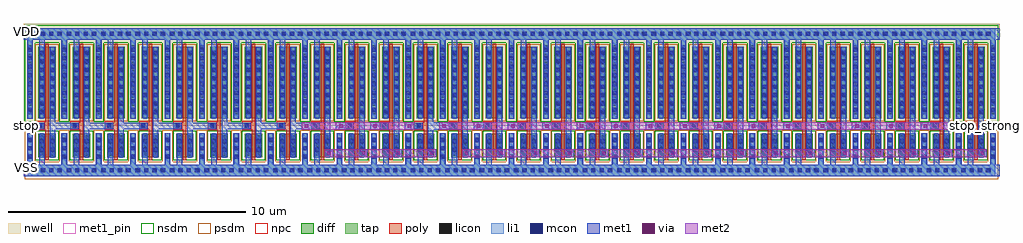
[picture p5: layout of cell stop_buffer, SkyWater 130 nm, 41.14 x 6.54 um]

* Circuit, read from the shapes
.subckt stop_buffer VDD VSS stop stop_strong
XM1 n1 stop VSS VSS sky130_fd_pr__nfet_01v8 w=1 l=0.15
XM2 n2 n1 VSS VSS sky130_fd_pr__nfet_01v8 w=1 l=0.15
XM3 n3 n2 VSS VSS sky130_fd_pr__nfet_01v8 w=1 l=0.15
XM4 n4 n3 VSS VSS sky130_fd_pr__nfet_01v8 w=1 l=0.15
XM5 n5 n4 VSS VSS sky130_fd_pr__nfet_01v8 w=1 l=0.15
XM6 n6 n5 VSS VSS sky130_fd_pr__nfet_01v8 w=1 l=0.15
XM7 n7 n6 VSS VSS sky130_fd_pr__nfet_01v8 w=1 l=0.15
XM8 n8 n7 VSS VSS sky130_fd_pr__nfet_01v8 w=1 l=0.15
XM9 n9 n8 VSS VSS sky130_fd_pr__nfet_01v8 w=1 l=0.15 m=4
XM10 stop_strong n9 VSS VSS sky130_fd_pr__nfet_01v8 w=1 l=0.15 m=16
XM11 n1 stop VDD VDD sky130_fd_pr__pfet_01v8 w=3 l=0.15
XM12 n2 n1 VDD VDD sky130_fd_pr__pfet_01v8 w=3 l=0.15
XM13 n3 n2 VDD VDD sky130_fd_pr__pfet_01v8 w=3 l=0.15
XM14 n4 n3 VDD VDD sky130_fd_pr__pfet_01v8 w=3 l=0.15
XM15 n5 n4 VDD VDD sky130_fd_pr__pfet_01v8 w=3 l=0.15
XM16 n6 n5 VDD VDD sky130_fd_pr__pfet_01v8 w=3 l=0.15
XM17 n7 n6 VDD VDD sky130_fd_pr__pfet_01v8 w=3 l=0.15
XM18 n8 n7 VDD VDD sky130_fd_pr__pfet_01v8 w=3 l=0.15
XM19 n9 n8 VDD VDD sky130_fd_pr__pfet_01v8 w=3 l=0.15 m=4
XM20 stop_strong n9 VDD VDD sky130_fd_pr__pfet_01v8 w=3 l=0.15 m=16
.ends

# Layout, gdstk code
import gdstk
lib = gdstk.Library(unit=1e-6, precision=1e-09)
def R(c, l, rs):  # rectangles x0, y0, x1, y1
    for r in rs: c.add(gdstk.rectangle(r[:2], r[2:], *l))
def A(c, l, x, y, w, h, nx, ny, dx, dy):  # array of equal rectangles
    R(c, l, [(x+i*dx, y+j*dy, x+i*dx+w, y+j*dy+h) for i in range(nx) for j in range(ny)])
nwell = (64, 20)
diff = (65, 20)
tap = (65, 44)
poly = (66, 20)
licon = (66, 44)
li1 = (67, 20)
mcon = (67, 44)
met1_pin = (68, 16)
met1 = (68, 20)
via = (68, 44)
met2 = (69, 20)
nsdm = (93, 44)
psdm = (94, 20)
npc = (95, 20)

sky130_fd_pr__pfet_01v8_ = lib.new_cell('sky130_fd_pr__pfet_01v8_2K9SAN')
R(sky130_fd_pr__pfet_01v8_, nwell, [(-0.545,-1.81,0.545,1.81)])
R(sky130_fd_pr__pfet_01v8_, diff, [(-0.365,-1.5,0.365,1.5)])
R(sky130_fd_pr__pfet_01v8_, poly, [(-0.075,-1.63,0.075,1.63)])
A(sky130_fd_pr__pfet_01v8_, licon, -0.305, -1.275, 0.17, 0.17, 1, 8, 0, 0.34)
A(sky130_fd_pr__pfet_01v8_, licon, 0.135, -1.275, 0.17, 0.17, 1, 8, 0, 0.34)
R(sky130_fd_pr__pfet_01v8_, li1, [(-0.305,-1.52,-0.135,1.52), (0.135,-1.52,0.305,1.52)])
A(sky130_fd_pr__pfet_01v8_, mcon, -0.305, -1.345, 0.17, 0.17, 1, 8, 0, 0.36)
A(sky130_fd_pr__pfet_01v8_, mcon, 0.135, -1.345, 0.17, 0.17, 1, 8, 0, 0.36)
R(sky130_fd_pr__pfet_01v8_, met1, [(-0.335,-1.5,-0.105,1.5), (0.105,-1.5,0.335,1.5)])
R(sky130_fd_pr__pfet_01v8_, psdm, [(-0.49,-1.625,0.49,1.625)])

sky130_fd_pr__nfet_01v8_ = lib.new_cell('sky130_fd_pr__nfet_01v8_6H9P4D')
R(sky130_fd_pr__nfet_01v8_, diff, [(-0.365,-0.5,0.365,0.5)])
R(sky130_fd_pr__nfet_01v8_, poly, [(-0.075,-0.63,0.075,0.63)])
A(sky130_fd_pr__nfet_01v8_, licon, -0.305, -0.425, 0.17, 0.17, 1, 3, 0, 0.34)
A(sky130_fd_pr__nfet_01v8_, licon, 0.135, -0.425, 0.17, 0.17, 1, 3, 0, 0.34)
R(sky130_fd_pr__nfet_01v8_, li1, [(-0.305,-0.52,-0.135,0.52), (0.135,-0.52,0.305,0.52)])
R(sky130_fd_pr__nfet_01v8_, mcon, [(-0.305,-0.265,-0.135,-0.095), (0.135,-0.265,0.305,-0.095), (-0.305,0.095,-0.135,0.265), (0.135,0.095,0.305,0.265)])
R(sky130_fd_pr__nfet_01v8_, met1, [(-0.335,-0.5,-0.105,0.5), (0.105,-0.5,0.335,0.5)])
R(sky130_fd_pr__nfet_01v8_, nsdm, [(-0.49,-0.625,0.49,0.625)])

inverter_3_1 = lib.new_cell('inverter_3_1')
R(inverter_3_1, nwell, [(0.15,1.15,0.6,4.77), (1.69,1.15,2.14,1.44), (1.64,1.44,2.14,4.48), (1.69,4.48,2.14,4.77), (0.15,4.77,2.14,5.43)])
R(inverter_3_1, tap, [(0.33,-0.98,1.96,-0.5), (0.33,-0.5,0.51,0.83), (1.78,-0.5,1.96,0.83), (0.33,1.44,0.51,4.77), (1.78,1.44,1.96,4.77), (0.33,4.77,1.96,5.25)])
R(inverter_3_1, poly, [(1.07,0.94,1.22,1), (0.68,1,1.22,1.27), (1.07,1.27,1.22,1.33)])
A(inverter_3_1, licon, 0.55, -0.825, 0.17, 0.17, 4, 2, 0.34, 5.75)
A(inverter_3_1, licon, 0.335, -0.23, 0.17, 0.17, 1, 3, 0, 0.34)
A(inverter_3_1, licon, 1.785, -0.23, 0.17, 0.17, 1, 3, 0, 0.34)
A(inverter_3_1, licon, 0.335, 1.635, 0.17, 0.17, 1, 9, 0, 0.34)
A(inverter_3_1, licon, 1.785, 1.635, 0.17, 0.17, 1, 9, 0, 0.34)
R(inverter_3_1, licon, [(0.77,1.05,0.94,1.22)])
R(inverter_3_1, li1, [(0.33,-0.98,1.96,-0.5), (0.33,-0.5,0.51,0.83), (1.78,-0.5,1.96,0.83), (0.68,1,1.03,1.27), (0.33,1.44,0.51,4.77), (1.78,1.44,1.96,4.77), (0.33,4.77,1.96,5.25)])
A(inverter_3_1, mcon, 0.52, -0.825, 0.17, 0.17, 4, 2, 0.36, 5.75)
A(inverter_3_1, mcon, 0.335, -0.25, 0.17, 0.17, 1, 3, 0, 0.36)
A(inverter_3_1, mcon, 1.785, -0.25, 0.17, 0.17, 1, 3, 0, 0.36)
A(inverter_3_1, mcon, 0.335, 1.735, 0.17, 0.17, 1, 8, 0, 0.36)
A(inverter_3_1, mcon, 1.785, 1.735, 0.17, 0.17, 1, 8, 0, 0.36)
R(inverter_3_1, mcon, [(0.77,1.05,0.94,1.22)])
R(inverter_3_1, met1, [(0.15,-0.98,2.14,-0.5), (0.3,-0.5,0.54,0.83), (0.81,-0.5,1.04,-0.19), (1.75,-0.5,1.99,0.83), (1.25,0.81,1.48,1.46), (0.68,1,1.03,1.27), (0.3,1.44,0.54,4.77), (1.75,1.44,1.99,4.77), (0.81,4.46,1.04,4.77), (0.15,4.77,2.14,5.25)])
R(inverter_3_1, nsdm, [(0.205,1.315,0.635,4.645), (1.655,1.315,2.085,4.645), (0.205,4.645,2.085,5.375)])
R(inverter_3_1, psdm, [(0.205,-1.105,2.085,-0.375), (0.205,-0.375,0.635,0.955), (1.655,-0.375,2.085,0.955)])
R(inverter_3_1, npc, [(0.67,0.95,1.04,1.32)])
inverter_3_1.add(gdstk.Reference(sky130_fd_pr__pfet_01v8_, (1.145,2.96)))
inverter_3_1.add(gdstk.Reference(sky130_fd_pr__nfet_01v8_, (1.145,0.31)))

inverter_3_1x4 = lib.new_cell('inverter_3_1x4')
inverter_3_1x4.add(gdstk.Reference(inverter_3_1, (4.37,1.1)))
inverter_3_1x4.add(gdstk.Reference(inverter_3_1, (2.92,1.1)))
inverter_3_1x4.add(gdstk.Reference(inverter_3_1, (1.47,1.1)))
inverter_3_1x4.add(gdstk.Reference(inverter_3_1, (0.02,1.1)))

stop_buffer = lib.new_cell('stop_buffer')
R(stop_buffer, met1_pin, [(0,0.21,0.27,0.48), (0,1.98,0.27,2.25), (40.87,1.98,41.14,2.25), (0,5.96,0.27,6.23)])
A(stop_buffer, met1, 12.7, 0.79, 0.35, 0.35, 20, 1, 1.45, 0)
A(stop_buffer, met1, 13.17, 1.96, 0.41, 0.31, 3, 1, 1.45, 0)
A(stop_buffer, met1, 18.97, 1.96, 0.41, 0.31, 15, 1, 1.45, 0)
A(stop_buffer, met1, 1.33, 1.98, 0.65, 0.27, 8, 1, 1.45, 0)
R(stop_buffer, met1, [(0,0.21,0.27,0.48), (11.72,1.96,12.13,1.98), (17.28,1.96,17.93,2.27), (0,1.98,0.53,2.25), (40.25,1.98,41.14,2.25), (11.72,2.25,12.13,2.27), (0,5.96,0.27,6.23)])
A(stop_buffer, via, 12.8, 0.89, 0.15, 0.15, 20, 1, 1.45, 0)
A(stop_buffer, via, 11.85, 2.04, 0.15, 0.15, 20, 1, 1.45, 0)
R(stop_buffer, met2, [(12.7,0.79,17.4,1.14), (18.5,0.79,40.6,1.14), (11.72,1.96,16.48,2.27), (17.52,1.96,39.68,2.27)])
stop_buffer.add(gdstk.Reference(inverter_3_1x4, (28.83,-0.12)))
stop_buffer.add(gdstk.Reference(inverter_3_1x4, (23.03,-0.12)))
stop_buffer.add(gdstk.Reference(inverter_3_1x4, (17.23,-0.12)))
stop_buffer.add(gdstk.Reference(inverter_3_1x4, (11.43,-0.12)))
stop_buffer.add(gdstk.Reference(inverter_3_1x4, (5.63,-0.12)))
stop_buffer.add(gdstk.Reference(inverter_3_1x4, (-0.17,-0.12)))
stop_buffer.add(gdstk.Reference(inverter_3_1x4, (34.63,-0.12)))
stop_buffer.add(gdstk.Label('stop', (0.135,2.115), layer=68, texttype=5))
stop_buffer.add(gdstk.Label('stop_strong', (41.005,2.115), layer=68, texttype=5))
stop_buffer.add(gdstk.Label('VDD', (0.135,6.095), layer=68, texttype=5))
stop_buffer.add(gdstk.Label('VSS', (0.135,0.345), layer=68, texttype=5))

lib.write_gds('stop_buffer.gds')
